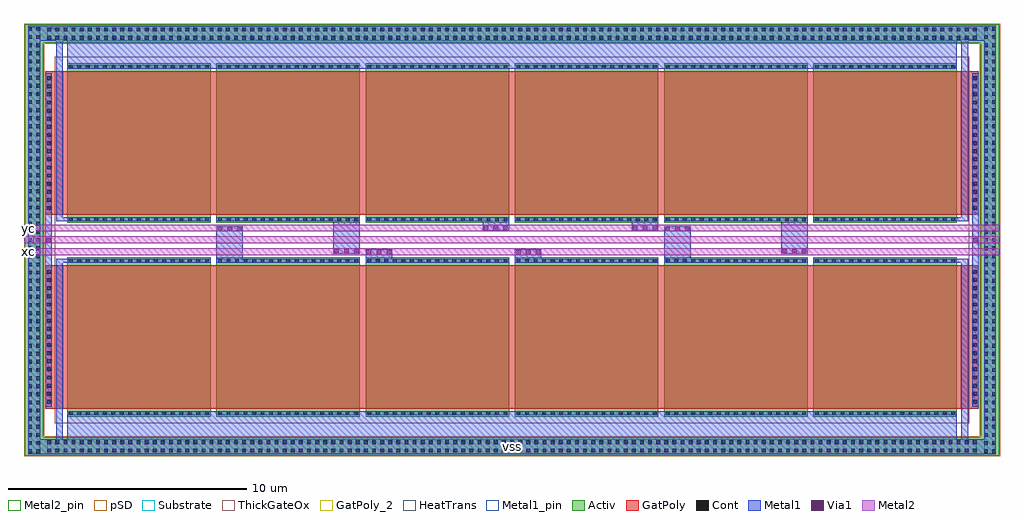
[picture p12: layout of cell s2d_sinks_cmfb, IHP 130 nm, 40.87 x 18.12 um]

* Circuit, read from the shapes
.subckt s2d_sinks_cmfb vbn vss xc yc
XM1 vss vbn vss vss sg13_hv_nmos w=6u l=6u m=4
XM2 yc vbn vss vss sg13_hv_nmos w=6u l=6u m=4
XM3 vss vbn xc vss sg13_hv_nmos w=6u l=6u m=4
.ends

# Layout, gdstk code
from math import pi, radians
import gdstk
lib = gdstk.Library(unit=1e-6, precision=1e-09)
def R(c, l, rs):  # rectangles x0, y0, x1, y1
    for r in rs: c.add(gdstk.rectangle(r[:2], r[2:], *l))
def A(c, l, x, y, w, h, nx, ny, dx, dy):  # array of equal rectangles
    R(c, l, [(x+i*dx, y+j*dy, x+i*dx+w, y+j*dy+h) for i in range(nx) for j in range(ny)])
Activ = (1, 0)
GatPoly = (5, 0)
GatPoly_2 = (5, 2)
Cont = (6, 0)
Metal1 = (8, 0)
Metal1_pin = (8, 2)
Metal2 = (10, 0)
Metal2_pin = (10, 2)
pSD = (14, 0)
Via1 = (19, 0)
Substrate = (40, 0)
ThickGateOx = (44, 0)
HeatTrans = (51, 0)

nmoshv = lib.new_cell('nmosHV')
R(nmoshv, Activ, [(0,0,0.3,0.3), (0,0,6.68,6), (6.38,0,6.68,0.3)])
R(nmoshv, GatPoly, [(0.34,-0.18,6.34,6.18)])
R(nmoshv, GatPoly_2, [(0.34,-0.18,6.34,6.18)])
A(nmoshv, Cont, 0.07, 0.07, 0.16, 0.16, 1, 4, 0, 0.355)
A(nmoshv, Cont, 6.45, 0.07, 0.16, 0.16, 1, 4, 0, 0.355)
A(nmoshv, Cont, 0.07, 1.495, 0.16, 0.16, 1, 4, 0, 0.355)
A(nmoshv, Cont, 6.45, 1.495, 0.16, 0.16, 1, 4, 0, 0.355)
A(nmoshv, Cont, 0.07, 2.92, 0.16, 0.16, 1, 4, 0, 0.355)
A(nmoshv, Cont, 6.45, 2.92, 0.16, 0.16, 1, 4, 0, 0.355)
A(nmoshv, Cont, 0.07, 4.345, 0.16, 0.16, 1, 4, 0, 0.355)
A(nmoshv, Cont, 6.45, 4.345, 0.16, 0.16, 1, 4, 0, 0.355)
R(nmoshv, Cont, [(0.07,5.77,0.23,5.93), (6.45,5.77,6.61,5.93)])
R(nmoshv, Metal1, [(0.07,0,0.23,6), (6.45,0,6.61,6)])
R(nmoshv, Metal1_pin, [(0.07,0,0.23,6), (6.45,0,6.61,6)])
R(nmoshv, ThickGateOx, [(-0.27,-0.52,6.95,6.52)])
R(nmoshv, HeatTrans, [(0.34,-0.18,6.34,6.18)])
nmoshv.add(gdstk.Label('nmosHV', (3.34,3), layer=63, texttype=0))
nmoshv.add(gdstk.Label('nmosHV', (3.34,3), layer=51, texttype=0))

s2d_sinks_cmfb_row = lib.new_cell('s2d_sinks_cmfb_row')
R(s2d_sinks_cmfb_row, GatPoly, [(-0.93,0.34,-0.18,6.34), (37.43,0.34,38.18,6.34)])
A(s2d_sinks_cmfb_row, Cont, -0.86, 0.54, 0.16, 0.16, 1, 17, 0, 0.34)
A(s2d_sinks_cmfb_row, Cont, 37.95, 0.54, 0.16, 0.16, 1, 17, 0, 0.34)
R(s2d_sinks_cmfb_row, Metal1, [(0,-1.545,37.25,0.23), (-0.91,0.41,-0.65,6.27), (37.9,0.41,38.16,6.27)])
R(s2d_sinks_cmfb_row, Metal1_pin, [(0,-1.545,37.25,-0.945), (-0.91,0.41,-0.65,6.27), (37.9,0.41,38.16,6.27)])
r = gdstk.Reference(nmoshv, (0,0), rotation=pi/2, x_reflection=True); r.repetition = gdstk.Repetition(1, 6, v1=(0,0), v2=(6.25,0)); s2d_sinks_cmfb_row.add(r)
s2d_sinks_cmfb_row.add(gdstk.Label('vss', (18.625,-1.245), layer=8, texttype=25))
s2d_sinks_cmfb_row.add(gdstk.Label('vbn', (-0.78,3.34), layer=8, texttype=25))
s2d_sinks_cmfb_row.add(gdstk.Label('vbn', (38.03,3.34), layer=8, texttype=25))

ptap1_17 = lib.new_cell('ptap1$17')
R(ptap1_17, Activ, [(0,0,0.78,18.065)])
A(ptap1_17, Cont, 0.14, 0.11, 0.16, 0.16, 1, 53, 0, 0.34)
A(ptap1_17, Cont, 0.48, 0.11, 0.16, 0.16, 1, 53, 0, 0.34)
R(ptap1_17, Metal1, [(0.14,0.06,0.64,18), (0.14,0.11,0.64,17.95)])
R(ptap1_17, Metal1_pin, [(0.14,0.11,0.64,17.95)])
R(ptap1_17, pSD, [(-0.03,-0.03,0.81,18.095)])
R(ptap1_17, Substrate, [(0,0,0.78,18.065)])
ptap1_17.add(gdstk.Label('sub!', (0.39,0.01), layer=63, texttype=0))
ptap1_17.add(gdstk.Label('sub!', (0.39,0.01), layer=40, texttype=0))

ptap1_23 = lib.new_cell('ptap1$23')
R(ptap1_23, Activ, [(0,0,39.25,0.78)])
A(ptap1_23, Cont, 0.165, 0.14, 0.16, 0.16, 115, 2, 0.34, 0.34)
R(ptap1_23, Metal1, [(0.165,0.09,39.085,0.69), (0.165,0.14,39.085,0.64)])
R(ptap1_23, Metal1_pin, [(0.165,0.14,39.085,0.64)])
R(ptap1_23, pSD, [(-0.03,-0.03,39.28,0.81)])
R(ptap1_23, Substrate, [(0,0,39.25,0.78)])
ptap1_23.add(gdstk.Label('sub!', (19.625,0.01), layer=63, texttype=0))
ptap1_23.add(gdstk.Label('sub!', (19.625,0.01), layer=40, texttype=0))

s2d_sinks_cmfb_wiring = lib.new_cell('s2d_sinks_cmfb_wiring')
R(s2d_sinks_cmfb_wiring, Metal1, [(-1.64,-1.575,38.89,-1.545), (-1.24,-1.545,-0.735,-0.945), (37.985,-1.545,38.49,-0.945), (-0.47,-1.045,-0.18,6.61), (37.43,-1.045,37.72,6.61), (-0.91,6.17,-0.65,8.625), (37.9,6.17,38.16,8.625), (-0.47,6.45,0.1,6.61), (6.25,6.45,7.36,7.965), (12.5,6.45,13.61,7.005), (18.75,6.45,19.86,7.005), (25,6.45,26.11,7.965), (37.15,6.45,37.72,6.61), (11.14,6.83,12.25,8.345), (29.89,6.83,31,8.345), (17.39,7.795,18.5,8.345), (23.64,7.795,24.75,8.345), (-0.47,8.185,-0.18,15.84), (-0.47,8.185,0.1,8.345), (37.15,8.185,37.72,8.345), (37.43,8.185,37.72,15.84), (-1.24,15.74,-0.735,16.34), (37.985,15.74,38.49,16.34), (-1.64,16.34,38.89,16.365)])
A(s2d_sinks_cmfb_wiring, Via1, 12.55, 6.805, 0.19, 0.19, 3, 1, 0.41, 0)
A(s2d_sinks_cmfb_wiring, Via1, 18.8, 6.805, 0.19, 0.19, 3, 1, 0.41, 0)
A(s2d_sinks_cmfb_wiring, Via1, 11.19, 6.84, 0.19, 0.19, 3, 1, 0.41, 0)
A(s2d_sinks_cmfb_wiring, Via1, 29.94, 6.84, 0.19, 0.19, 3, 1, 0.41, 0)
A(s2d_sinks_cmfb_wiring, Via1, 6.3, 7.765, 0.19, 0.19, 3, 1, 0.41, 0)
A(s2d_sinks_cmfb_wiring, Via1, 25.05, 7.765, 0.19, 0.19, 3, 1, 0.41, 0)
A(s2d_sinks_cmfb_wiring, Via1, 17.44, 7.805, 0.19, 0.19, 3, 1, 0.41, 0)
A(s2d_sinks_cmfb_wiring, Via1, 23.69, 7.805, 0.19, 0.19, 3, 1, 0.41, 0)
R(s2d_sinks_cmfb_wiring, Via1, [(-0.875,7.305,-0.685,7.495), (37.935,7.305,38.125,7.495)])
R(s2d_sinks_cmfb_wiring, ThickGateOx, [(-0.52,6.62,37.77,8.175)])
s2d_sinks_cmfb_wiring.add(gdstk.FlexPath([(-1.665,6.9),(38.915,6.9)], 0.29, ends="extended", simple_path=True, layer=10, datatype=0))  # Metal2
s2d_sinks_cmfb_wiring.add(gdstk.FlexPath([(-1.665,7.4),(38.915,7.4)], 0.29, ends="extended", simple_path=True, layer=10, datatype=0))  # Metal2
s2d_sinks_cmfb_wiring.add(gdstk.FlexPath([(-1.665,7.9),(38.915,7.9)], 0.29, ends="extended", simple_path=True, layer=10, datatype=0))  # Metal2
s2d_sinks_cmfb_wiring.add(gdstk.Reference(ptap1_17, (-1.78,-1.635)))
s2d_sinks_cmfb_wiring.add(gdstk.Reference(ptap1_17, (38.25,-1.635)))
s2d_sinks_cmfb_wiring.add(gdstk.Reference(ptap1_23, (-1,15.65)))
s2d_sinks_cmfb_wiring.add(gdstk.Reference(ptap1_23, (-1,-1.635)))
s2d_sinks_cmfb_wiring.add(gdstk.Label('dummy', (3,3.34), layer=63, texttype=0))
s2d_sinks_cmfb_wiring.add(gdstk.Label('dummy', (3,11.455), layer=63, texttype=0))
s2d_sinks_cmfb_wiring.add(gdstk.Label('SYC', (9.25,3.34), layer=63, texttype=0))
s2d_sinks_cmfb_wiring.add(gdstk.Label('SXC', (9.25,11.455), layer=63, texttype=0))
s2d_sinks_cmfb_wiring.add(gdstk.Label('SXC', (15.5,3.34), layer=63, texttype=0))
s2d_sinks_cmfb_wiring.add(gdstk.Label('SYC', (15.5,11.455), layer=63, texttype=0))
s2d_sinks_cmfb_wiring.add(gdstk.Label('SXC', (21.75,3.34), layer=63, texttype=0))
s2d_sinks_cmfb_wiring.add(gdstk.Label('SYC', (21.75,11.455), layer=63, texttype=0))
s2d_sinks_cmfb_wiring.add(gdstk.Label('SYC', (28,3.34), layer=63, texttype=0))
s2d_sinks_cmfb_wiring.add(gdstk.Label('SXC', (28,11.455), layer=63, texttype=0))
s2d_sinks_cmfb_wiring.add(gdstk.Label('dummy', (34.25,3.34), layer=63, texttype=0))
s2d_sinks_cmfb_wiring.add(gdstk.Label('dummy', (34.25,11.455), layer=63, texttype=0))

s2d_sinks_cmfb = lib.new_cell('s2d_sinks_cmfb')
R(s2d_sinks_cmfb, Metal1_pin, [(-0.835,-1.545,38.085,-0.945)])
A(s2d_sinks_cmfb, Metal2_pin, -1.81, 6.755, 0.4, 0.29, 1, 3, 0, 0.5)
s2d_sinks_cmfb.add(gdstk.Reference(s2d_sinks_cmfb_row, (0,0)))
s2d_sinks_cmfb.add(gdstk.Reference(s2d_sinks_cmfb_row, (37.25,14.795), rotation=pi))
s2d_sinks_cmfb.add(gdstk.Reference(s2d_sinks_cmfb_wiring, (0,0)))
s2d_sinks_cmfb.add(gdstk.Label('vss', (18.625,-1.245), layer=8, texttype=25))
s2d_sinks_cmfb.add(gdstk.Label('xc', (-1.61,6.9), layer=10, texttype=25))
s2d_sinks_cmfb.add(gdstk.Label('vbn', (-1.61,7.4), layer=10, texttype=25))
s2d_sinks_cmfb.add(gdstk.Label('yc', (-1.61,7.9), layer=10, texttype=25))

lib.write_gds('s2d_sinks_cmfb.gds')
